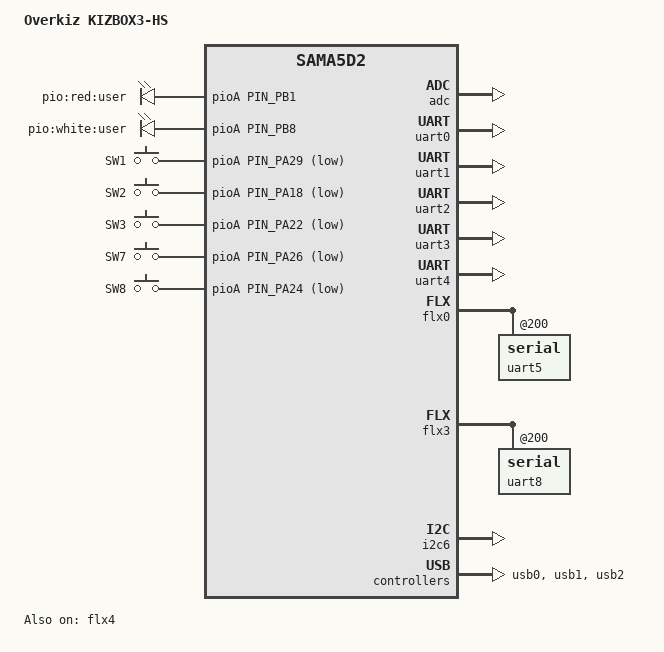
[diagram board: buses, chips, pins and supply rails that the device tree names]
// SPDX-License-Identifier: GPL-2.0
/*
 * at91-kizbox3-hs.dts - Device Tree file for Overkiz KIZBOX3-HS board
 *
 * Copyright (C) 2018 Overkiz SAS
 *
 * Authors: Dorian Rocipon <d.rocipon@overkiz.com>
 *          Kevin Carli <k.carli@overkiz.com>
 *          Mickael Gardet <m.gardet@overkiz.com>
 */
/dts-v1/;
#include "at91-kizbox3_common.dtsi"

/ {
	model = "Overkiz KIZBOX3-HS";
	compatible = "overkiz,kizbox3-hs", "atmel,sama5d2", "atmel,sama5";

	pwm_leds {
		status = "okay";

		red {
			status = "okay";
		};

		green {
			status = "okay";
		};

		blue {
			status = "okay";
		};

		white {
			status = "okay";
		};
	};

	leds  {
		compatible = "gpio-leds";
		pinctrl-names = "default";
		pinctrl-0 = <&pinctrl_led_red
			     &pinctrl_led_white>;
		status = "okay";

		red {
			label = "pio:red:user";
			gpios = <&pioA PIN_PB1 GPIO_ACTIVE_HIGH>;
			default-state = "off";
		};

		white {
			label = "pio:white:user";
			gpios = <&pioA PIN_PB8 GPIO_ACTIVE_HIGH>;
			default-state = "off";
		};
	};

	gpio_keys {
		compatible = "gpio-keys";
		pinctrl-names = "default" , "default", "default",
				"default", "default" ;
		pinctrl-0 = <&pinctrl_key_gpio_default>;
		pinctrl-1 = <&pinctrl_pio_rf &pinctrl_pio_wifi>;
		pinctrl-2 = <&pinctrl_pio_io_boot
			     &pinctrl_pio_io_reset
			     &pinctrl_pio_io_test_radio>;
		pinctrl-3 = <&pinctrl_pio_zbe_test_radio
			     &pinctrl_pio_zbe_rst>;
		pinctrl-4 = <&pinctrl_pio_input>;

		SW1 {
			label = "SW1";
			gpios = <&pioA PIN_PA29 GPIO_ACTIVE_LOW>;
			linux,code = <0x101>;
			wakeup-source;
		};

		SW2 {
			label = "SW2";
			gpios = <&pioA PIN_PA18 GPIO_ACTIVE_LOW>;
			linux,code = <0x102>;
			wakeup-source;
		};

		SW3 {
			label = "SW3";
			gpios = <&pioA PIN_PA22 GPIO_ACTIVE_LOW>;
			linux,code = <0x103>;
			wakeup-source;
		};

		SW7 {
			label = "SW7";
			gpios = <&pioA PIN_PA26 GPIO_ACTIVE_LOW>;
			linux,code = <0x107>;
			wakeup-source;
		};

		SW8 {
			label = "SW8";
			gpios = <&pioA PIN_PA24 GPIO_ACTIVE_LOW>;
			linux,code = <0x108>;
			wakeup-source;
		};
	};

	gpios {
		compatible = "gpio";
		status = "okay";

		rf_on {
			label = "rf on";
			gpio = <&pioA PIN_PC19 GPIO_ACTIVE_HIGH>;
			output;
			init-low;
		};

		wifi_on {
			label = "wifi on";
			gpio = <&pioA PIN_PC20 GPIO_ACTIVE_HIGH>;
			output;
			init-low;
		};

		zbe_test_radio {
			label = "zbe test radio";
			gpio = <&pioA PIN_PB21 GPIO_ACTIVE_HIGH>;
			output;
			init-low;
		};

		zbe_rst {
			label = "zbe rst";
			gpio = <&pioA PIN_PB25 GPIO_ACTIVE_HIGH>;
			output;
			init-low;
		};

		io_reset {
			label = "io reset";
			gpio = <&pioA PIN_PB30 GPIO_ACTIVE_HIGH>;
			output;
			init-low;
		};

		io_test_radio {
			label = "io test radio";
			gpio = <&pioA PIN_PC9 GPIO_ACTIVE_HIGH>;
			output;
			init-low;
		};

		io_boot_0 {
			label = "io boot 0";
			gpio = <&pioA PIN_PC11 GPIO_ACTIVE_HIGH>;
			output;
			init-low;
		};

		io_boot_1 {
			label = "io boot 1";
			gpio = <&pioA PIN_PC17 GPIO_ACTIVE_HIGH>;
			output;
			init-low;
		};

		verbose_bootloader {
			label = "verbose bootloader";
			gpio = <&pioA PIN_PB11 GPIO_ACTIVE_HIGH>;
			input;
		};

		 nail_bed_detection  {
			label = "nail bed detection";
			gpio = <&pioA PIN_PB12 GPIO_ACTIVE_HIGH>;
			input;
		};

		 id_usba {
			label = "id usba";
			gpio = <&pioA PIN_PC0 GPIO_ACTIVE_LOW>;
			input;
		};
	};
};

&pioA {
	pinctrl_key_gpio_default: key_gpio_default {
		pinmux=  <PIN_PA22__GPIO>,
		<PIN_PA24__GPIO>,
		<PIN_PA26__GPIO>,
		<PIN_PA29__GPIO>,
		<PIN_PA18__GPIO>;
		bias-disable;
		};

	pinctrl_gpio {
		pinctrl_pio_rf: gpio_rf {
			pinmux = <PIN_PC19__GPIO>;
			bias-disable;
		};
		pinctrl_pio_wifi: gpio_wifi {
			pinmux = <PIN_PC20__GPIO>;
			bias-disable;
		};
		pinctrl_pio_io_boot: gpio_io_boot {
			pinmux =
			<PIN_PC11__GPIO>,
			<PIN_PC17__GPIO>;
			bias-disable;
		};
		pinctrl_pio_io_test_radio: gpio_io_test_radio {
			pinmux = <PIN_PC9__GPIO>;
			bias-disable;
		};
		pinctrl_pio_zbe_test_radio: gpio_zbe_test_radio {
			pinmux = <PIN_PB21__GPIO>;
			bias-disable;
		};
		pinctrl_pio_zbe_rst: gpio_zbe_rst {
			pinmux = <PIN_PB25__GPIO>;
			bias-disable;
		};
		/* stm32 reset must be open drain (internal pull up) */
		pinctrl_pio_io_reset: gpio_io_reset {
			pinmux = <PIN_PB30__GPIO>;
			bias-disable;
			drive-open-drain = <1>;
			output-low;
		};
		pinctrl_pio_input: gpio_input {
			pinmux =
			<PIN_PB11__GPIO>,
			<PIN_PB12__GPIO>,
			<PIN_PC0__GPIO>;
			bias-disable;
		};
	};

	pinctrl_leds {
		pinctrl_led_red: led_red {
			pinmux = <PIN_PB1__GPIO>;
			bias-disable;
		};
		pinctrl_led_white: led_white {
			pinmux = <PIN_PB8__GPIO>;
			bias-disable;
		};
	};
};

&adc {
	status = "okay";
};

&uart0 {
	status = "okay";
};

&uart1 {
	status = "okay";
};

&uart2 {
	status = "okay";
};

&uart3 {
	status = "okay";
};

&uart4 {
	status = "okay";
};

&flx0 {
	status = "okay";

	uart5: serial@200  {
			status = "okay";
	};
};

&flx3 {
	status = "okay";
	uart8: serial@200 {
		status = "okay";
	};
};

&flx4 {
	status = "okay";

	i2c6: i2c@600 {
		status = "okay";
	};
};

&usb0 {
	status = "okay";
};

&usb1 {
	status = "okay";
};

&usb2 {
	status = "okay";
};
